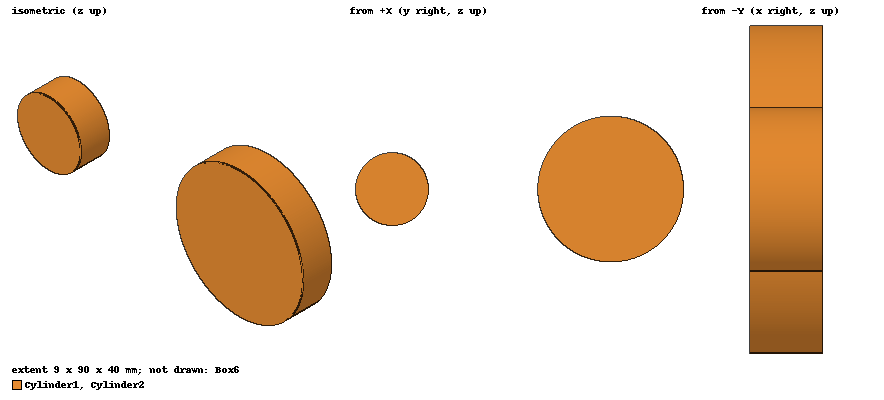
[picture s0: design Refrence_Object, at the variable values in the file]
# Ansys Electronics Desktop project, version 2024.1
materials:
  Rogers RO4003 (tm): permittivity=3.55 dielectric_loss_tangent=0.0027
  copper: permeability=0.999991 conductivity=58000000
  vacuum: permittivity=1
  polyimide: permittivity=3.5 dielectric_loss_tangent=0.008
  Rogers RO3010 (tm): permittivity=10.2 dielectric_loss_tangent=0.0035

design 1D_Array (HFSS, HFSS Modal Network, model units mm)
options: Allow_Material_Override
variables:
  SRRdx = srrdy
  SRRdy = 7.3mm
  subH = 32mil
  SRRw = 1.2mm
  chip = 0.4572mm
  subW = 9mm
  subL = subw
  t = 0um
  wgz = 40mm
  DRRw2 = 1mm
  DRRdy = SRRdy - SRR_DRR_gap*1- SRRw*2
  DRRw = 0.3mm
  SRR_DRR_gap = 0.3mm
  DRRgap = 0.2mm
  DRRdx = SRRdx - SRR_DRR_gap - SRRw*2
  SurfRough = 0.5um
  chipW = 0.5mm
  cap0 = 1.5645pF
  res0 = 0ohm
  Theta0 = 0deg
  Rvia = 5mil
  ViaEdgeGap = 10mil
  wDc = 6mil
  dcOff = 10mil
  KapH = 0mil
  DCut = 4mil
  PCapX = 1.4mm
  PCapY = 1mm
  PCap2X = 6mm
  PCap2Y = 4mm
  dy = 3mil
  L0 = 1.5mm
  g0 = 2.5mil
  IDL = L0 - g0
  IDpad = 0.2mm
  L1 = 1.5mm
  R0 = 55.2262ohm
  cap1 = 1.3741pF
  cap2 = 1.2993pF
  cap3 = 1.453pF
  cap4 = 0.10462pF
  cap5 = 0.76733pF
  cap6 = 0.99295pF
  cap7 = 0.52999pF
  cap8 = 1.5731pF
  cap9 = 1.8836pF
  cap10 = 0.61932pF
  cap11 = 1.6083pF
  cap12 = 0.30308pF
  cap13 = 1.8408pF
  cap14 = 0.30492pF
  cap15 = 1.2941pF
  cap16 = 0.80554pF
  cap17 = 1.7749pF
  cap18 = 1.1083pF
  cap19 = 1.0771pF
  R1 = 97.9129ohm
  R2 = 54.9309ohm
  R3 = 33.0424ohm
  R4 = 61.9472ohm
  R5 = 36.0637ohm
  R6 = 75.651ohm
  R7 = 41.3901ohm
  R8 = 49.2345ohm
  R9 = 69.4743ohm
  R10 = 97.2734ohm
  R11 = 32.7755ohm
  R12 = 83.7803ohm
  R13 = 73.9072ohm
  R14 = 95.4174ohm
  R15 = 3.1923ohm
  R16 = 35.6869ohm
  R17 = 66.2654ohm
  R18 = 28.1502ohm
  R19 = 23.0383ohm
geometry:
  Rectangle1 [copper] = rectangle(corner=(-SRRdx/2, -SRRdy/2, subH), x_size=SRRdx, y_size=SRRdy)
  Rectangle2 = rectangle(corner=(-(SRRdx-SRRw*2)/2, -(SRRdy-SRRw*2)/2, subH), x_size=SRRdx-SRRw*2, y_size=SRRdy-SRRw*2)
  Rectangle3 = rectangle(corner=(-chip/2, -SRRdy/2, subH), x_size=chip, y_size=SRRw)
  Box1 [Rogers RO4003 (tm)] = box(corner=(-subW/2, -subL/2, subh), size=(subW, Subw*20, -2*subH))
  Rectangle4 = rectangle(corner=(-chip/2, -SRRdy/2 + SRRw/2  - chipW/2, kaph + subH), x_size=chip, y_size=chipW)
  Rectangle4.move(0, 0, 0)
  Box5 [copper] = box(corner=(-subW/2, -subL/2, 0mm), size=(subW, subL, -t))
  Box6 [vacuum] = box(corner=(-subW/2, -subL/2 - 2*subL, - 2*subh), size=(subW, subL*24, subH+Wgz))
  Rectangle1.move(0, 0, 0)
  Rectangle1.thicken(t)
  Rectangle9 = rectangle(corner=(-DRRdx/2, -DRRdy/2, subH), x_size=DRRdx, y_size=DRRdy)
  Rectangle9.thicken(t)
  Rectangle9.move(0, 0, 0)
  Rectangle14 = rectangle(corner=(-chip/2, -chipW/2, kaph + subH), x_size=chip, y_size=chipW)
  Rectangle10 = rectangle(corner=(-(DRRdx-DRRw*2)/2, -(DRRdy-DRRw*2)/2, subH), x_size=DRRdx-DRRw*2, y_size=(DRRdy-DRRw*2)/2-DRRw2/2)
  Rectangle2_1 = Rectangle10.duplicate_around_axis(axis=Z, angle=180deg, total=2)
  Rectangle11 = rectangle(corner=(-chip/2, -DRRw2/2, subH), x_size=chip, y_size=DRRw2)
  Rectangle12 = rectangle(corner=(-DRRgap/2, -DRRdy/2, subH), x_size=DRRgap, y_size=DRRw)
  Rectangle13 = rectangle(corner=(-DRRgap/2, DRRdy/2, subH), x_size=DRRgap, y_size=-DRRw)
  Rectangle9.subtract(Rectangle10, Rectangle11, Rectangle2_1)
  Rectangle9.subtract(Rectangle12, Rectangle13)  # suppressed
  Rectangle1.subtract(Rectangle2, Rectangle3)
  Cylinder1 [copper] = cylinder(axis=Z, base_centre=(-chip/2 - ViaEdgeGap -Rvia, 0mm, -subH), radius=Rvia, height=kaph + 2*subH)
  Cylinder2 = cylinder(axis=Z, base_centre=(chip/2 + ViaEdgeGap  + Rvia, 0mm, -subH), radius=Rvia, height=Kaph + 2*subH)
  Rectangle15 = rectangle(corner=(-chip/2, -DRRw2/2, -Subh), x_size=-2*Rvia - 2*ViaEdgeGap, y_size=DRRw2)
  Rectangle16 = rectangle(corner=(chip/2, -DRRw2/2, -Subh), x_size=2*Rvia + 2*ViaEdgeGap, y_size=DRRw2)
  Circle1 = circle(normal=Z, centre=(-chip/2 - ViaEdgeGap -Rvia, 0, 0mm), radius=Rvia + ViaEdgeGap)
  Circle2 = circle(normal=Z, centre=(chip/2 + ViaEdgeGap +Rvia, 0, 0mm), radius=Rvia + ViaEdgeGap)
  Cylinder3 = cylinder(axis=Z, base_centre=(-chip/2 - ViaEdgeGap -Rvia, -SRRdx/2 + SRRw/2, -subH), radius=Rvia, height=kaph + 2*subH)
  Cylinder4 = cylinder(axis=Z, base_centre=(chip/2 + ViaEdgeGap +Rvia, -SRRdx/2 + SRRw/2, -subH), radius=Rvia, height=kaph + 2*subH)
  Rectangle17 = rectangle(corner=(-chip/2, - SRRdx/2, -Subh), x_size=-2*Rvia - 2*ViaEdgeGap, y_size=SRRw)
  Rectangle18 = rectangle(corner=(chip/2, - SRRdx/2, -Subh), x_size=2*Rvia +2*ViaEdgeGap, y_size=SRRw)
  Rectangle15.unite(Rectangle16, Rectangle17, Rectangle18)
  Circle3 = circle(normal=Z, centre=(-chip/2 - ViaEdgeGap -Rvia, -SRRdx/2 + SRRw/2, 0mm), radius=Rvia + ViaEdgeGap)
  Circle4 = circle(normal=Z, centre=(chip/2 + ViaEdgeGap +Rvia, -SRRdx/2 + SRRw/2, 0mm), radius=Rvia + ViaEdgeGap)
  Circle1.unite(Circle2, Circle3, Circle4)
  Box5.subtract(Circle1)
  Rectangle19 = rectangle(corner=(-chip/2, -wDc/2, -subh), x_size=-(subW - chip)/2, y_size=wDc)
  Rectangle20 = rectangle(corner=(chip/2, -wDc/2, -subh), x_size=(subW - chip)/2, y_size=wDc)
  Rectangle21 = rectangle(corner=(-subW/2, -SRRdx /2 + SRRw + dcOff, -subh), x_size=subw, y_size=wDc)
  Rectangle22 = rectangle(corner=(-subW/2, -SRRdx /2 - dcOff, -subh), x_size=subw, y_size=-wDc)
  Rectangle23 = rectangle(corner=(-chip/2 - ViaEdgeGap -Rvia - wdc/2, -SRRdx/2 + SRRw, -subh), x_size=wDc, y_size=dcOff)
  Rectangle24 = rectangle(corner=(chip/2 + ViaEdgeGap +Rvia - wdc/2, -SRRdx/2, -subh), x_size=wDc, y_size=-dcOff)
  Rectangle19.unite(Rectangle20..Rectangle24)
  Rectangle15.unite(Rectangle19)
  Rectangle32 = rectangle(corner=(-L0/2, DRRdx /2, subh), x_size=IDL, y_size=-dy)
  Rectangle32_1..Rectangle32_4 = Rectangle32.duplicate_along_line(step=(0mm, -dy*2 - g0*2, 0mm), total=5)
  Rectangle33 = rectangle(corner=(L0/2, DRRdx /2 - dy - g0, subh), x_size=-IDL, y_size=-dy)
  Rectangle33_1, Rectangle33_2, Rectangle33_3 = Rectangle33.duplicate_along_line(step=(0mm, -2*(dy + g0), 0mm), total=4)
  Rectangle34 = rectangle(corner=(-L0/2, Drrdy/2, subh), x_size=-IDpad, y_size=-9*dy - 8*g0)
  Rectangle35 = rectangle(corner=(L0/2, Drrdy/2, subh), x_size=IDpad, y_size=-9*dy - 8*g0)
  Rectangle32.unite(Rectangle32_1..Rectangle32_4, Rectangle33, Rectangle33_1, Rectangle33_2, Rectangle33_3, Rectangle34, Rectangle35)
  Rectangle36 = rectangle(corner=(-L0/2, drrdy/2, subh), x_size=L0, y_size=-DRRw)
  Rectangle37 = rectangle(corner=(-L0/2, -drrdy/2, subh), x_size=L0, y_size=DRRw)
  Rectangle9.subtract(Rectangle36, Rectangle37)
  Rectangle32_5 = Rectangle32.duplicate_mirror(point=(0mm, 0mm, 0mm), normal=(0mm, 1mm, 0mm))
  Rectangle9.unite(Rectangle32, Rectangle32_5)
  Rectangle38 = rectangle(corner=(-Srrdx/2 + SRRw, -L1/2, subh), x_size=-dy, y_size=L1 - g0)
  Rectangle38_1..Rectangle38_4 = Rectangle38.duplicate_along_line(step=(-dy*2 - 2*g0, 0mm, 0mm), total=5)
  Rectangle39 = rectangle(corner=(-Srrdx/2 + SRRw - dy - g0, L1/2, subh), x_size=-dy, y_size=-L1 + g0)
  Rectangle39_1, Rectangle39_2, Rectangle39_3 = Rectangle39.duplicate_along_line(step=(-2*dy - 2*g0, 0mm, 0mm), total=4)
  Rectangle40 = rectangle(corner=(-srrdx/2 + SRRw, L1/2, subh), x_size=-9*dy - 8*g0, y_size=IDpad)
  Rectangle41 = rectangle(corner=(-srrdx/2 + SRRw, -L1/2, subh), x_size=-9*dy - 8*g0, y_size=-IDpad)
  Rectangle38.unite(Rectangle38_1..Rectangle38_4, Rectangle39, Rectangle39_1, Rectangle39_2, Rectangle39_3, Rectangle40, Rectangle41)
  Rectangle42 = rectangle(corner=(-Srrdx/2 + SRRw, -l1/2, subh), x_size=-SRRw, y_size=L1)
  Rectangle43 = rectangle(corner=(Srrdx/2 - SRRw, -l1/2, subh), x_size=SRRw, y_size=L1)
  Rectangle1.subtract(Rectangle42, Rectangle43)
  Rectangle38_5 = Rectangle38.duplicate_mirror(point=(0mm, 0mm, 0mm), normal=(1mm, 0mm, 0mm))
  Rectangle1.unite(Rectangle38, Rectangle38_5)
  Cylinder1.unite(Cylinder2, Cylinder3, Cylinder4)
  Rectangle1.unite(Rectangle9)
  Rectangle1_1..Rectangle1_19 = Rectangle1.duplicate_along_line(step=(0mm, subW, 0mm), total=20)
  Rectangle1.unite(Rectangle1_1..Rectangle1_19)
  Box5_1..Box5_19 = Box5.duplicate_along_line(step=(0mm, subw, 0mm), total=20)
  Box5_1.unite(Box5_2..Box5_19)
  Box5.unite(Box5_1)
  Rectangle15_1..Rectangle15_19 = Rectangle15.duplicate_along_line(step=(0mm, subw, 0mm), total=20)
  Rectangle15.unite(Rectangle15_1..Rectangle15_19)
  Cylinder1_1..Cylinder1_19 = Cylinder1.duplicate_along_line(step=(0mm, subw, 0mm), total=20)
  Cylinder1.unite(Cylinder1_1..Cylinder1_19)
  Rectangle4_1..Rectangle4_19 = Rectangle4.duplicate_along_line(step=(0mm, subL, 0mm), total=20)
  Rectangle14_1..Rectangle14_19 = Rectangle14.duplicate_along_line(step=(0mm, subL, 0mm), total=20)
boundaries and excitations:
  FiniteCond1: Finite Conductivity Objects=[Box5, Rectangle1] UseMaterial Material=copper Roughness=0 IsInternal
  LumpRLC1: Lumped RLC Objects=Rectangle4 CurrentLine{(0.2286, -3.05, 0.8128) -> (-0.2286, -3.05, 0.8128)} RLC_Type=Parallel Capacitance=Cap0
  LumpRLC3: Lumped RLC Objects=Rectangle14 CurrentLine{(0.2286, 0, 0.8128) -> (-0.2286, 0, 0.8128)} RLC_Type=Parallel Resistance=R0
  FiniteCond2: Finite Conductivity Objects=Rectangle15 UseMaterial Material=copper IsInternal
  PerfE1: Perfect E Faces=Box6.face(-x, +x) InfGroundPlane
  Rad2: Radiation Faces=Box6.face(-z, -y, +z, +y)
  LumpRLC4: Lumped RLC Objects=Rectangle4_1 CurrentLine{(0.2286, 5.95, 0.8128) -> (-0.2286, 5.95, 0.8128)} RLC_Type=Parallel Capacitance=cap1
  LumpRLC5: Lumped RLC Objects=Rectangle4_2 CurrentLine{(0.2286, 14.95, 0.8128) -> (-0.2286, 14.95, 0.8128)} RLC_Type=Parallel Capacitance=cap2
  LumpRLC6: Lumped RLC Objects=Rectangle4_3 CurrentLine{(0.2286, 23.95, 0.8128) -> (-0.2286, 23.95, 0.8128)} RLC_Type=Parallel Capacitance=cap3
  LumpRLC7: Lumped RLC Objects=Rectangle4_4 CurrentLine{(0.2286, 32.95, 0.8128) -> (-0.2286, 32.95, 0.8128)} RLC_Type=Parallel Capacitance=cap4
  LumpRLC8: Lumped RLC Objects=Rectangle4_5 CurrentLine{(0.2286, 41.95, 0.8128) -> (-0.2286, 41.95, 0.8128)} RLC_Type=Parallel Capacitance=cap5
  LumpRLC9: Lumped RLC Objects=Rectangle4_6 CurrentLine{(0.2286, 50.95, 0.8128) -> (-0.2286, 50.95, 0.8128)} RLC_Type=Parallel Capacitance=cap6
  LumpRLC10: Lumped RLC Objects=Rectangle4_7 CurrentLine{(0.2286, 59.95, 0.8128) -> (-0.2286, 59.95, 0.8128)} RLC_Type=Parallel Capacitance=cap7
  LumpRLC11: Lumped RLC Objects=Rectangle4_8 CurrentLine{(0.2286, 68.95, 0.8128) -> (-0.2286, 68.95, 0.8128)} RLC_Type=Parallel Capacitance=cap8
  LumpRLC12: Lumped RLC Objects=Rectangle4_9 CurrentLine{(0.2286, 77.95, 0.8128) -> (-0.2286, 77.95, 0.8128)} RLC_Type=Parallel Capacitance=cap9
  LumpRLC13: Lumped RLC Objects=Rectangle4_10 CurrentLine{(0.2286, 86.95, 0.8128) -> (-0.2286, 86.95, 0.8128)} RLC_Type=Parallel Capacitance=cap10
  LumpRLC14: Lumped RLC Objects=Rectangle4_11 CurrentLine{(0.2286, 95.95, 0.8128) -> (-0.2286, 95.95, 0.8128)} RLC_Type=Parallel Capacitance=cap11
  LumpRLC15: Lumped RLC Objects=Rectangle4_12 CurrentLine{(0.2286, 104.95, 0.8128) -> (-0.2286, 104.95, 0.8128)} RLC_Type=Parallel Capacitance=cap12
  LumpRLC16: Lumped RLC Objects=Rectangle4_13 CurrentLine{(0.2286, 113.95, 0.8128) -> (-0.2286, 113.95, 0.8128)} RLC_Type=Parallel Capacitance=cap13
  LumpRLC17: Lumped RLC Objects=Rectangle4_14 CurrentLine{(0.2286, 122.95, 0.8128) -> (-0.2286, 122.95, 0.8128)} RLC_Type=Parallel Capacitance=cap14
  LumpRLC18: Lumped RLC Objects=Rectangle4_15 CurrentLine{(0.2286, 131.95, 0.8128) -> (-0.2286, 131.95, 0.8128)} RLC_Type=Parallel Capacitance=cap15
  LumpRLC19: Lumped RLC Objects=Rectangle4_16 CurrentLine{(0.2286, 140.95, 0.8128) -> (-0.2286, 140.95, 0.8128)} RLC_Type=Parallel Capacitance=cap16
  LumpRLC20: Lumped RLC Objects=Rectangle4_17 CurrentLine{(0.2286, 149.95, 0.8128) -> (-0.2286, 149.95, 0.8128)} RLC_Type=Parallel Capacitance=cap17
  LumpRLC21: Lumped RLC Objects=Rectangle4_18 CurrentLine{(0.2286, 158.95, 0.8128) -> (-0.2286, 158.95, 0.8128)} RLC_Type=Parallel Capacitance=cap18
  LumpRLC22: Lumped RLC Objects=Rectangle4_19 CurrentLine{(0.2286, 167.95, 0.8128) -> (-0.2286, 167.95, 0.8128)} RLC_Type=Parallel Capacitance=cap19
  LumpRLC23: Lumped RLC Objects=Rectangle14_1 CurrentLine{(0.2286, 9, 0.8128) -> (-0.2286, 9, 0.8128)} RLC_Type=Parallel Resistance=R1
  LumpRLC24: Lumped RLC Objects=Rectangle14_2 CurrentLine{(0.2286, 18, 0.8128) -> (-0.2286, 18, 0.8128)} RLC_Type=Parallel Resistance=R2
  LumpRLC25: Lumped RLC Objects=Rectangle14_3 CurrentLine{(0.2286, 27, 0.8128) -> (-0.2286, 27, 0.8128)} RLC_Type=Parallel Resistance=R3
  LumpRLC26: Lumped RLC Objects=Rectangle14_4 CurrentLine{(0.2286, 36, 0.8128) -> (-0.2286, 36, 0.8128)} RLC_Type=Parallel Resistance=R4
  LumpRLC27: Lumped RLC Objects=Rectangle14_5 CurrentLine{(0.2286, 45, 0.8128) -> (-0.2286, 45, 0.8128)} RLC_Type=Parallel Resistance=R5
  LumpRLC28: Lumped RLC Objects=Rectangle14_6 CurrentLine{(0.2286, 54, 0.8128) -> (-0.2286, 54, 0.8128)} RLC_Type=Parallel Resistance=R6
  LumpRLC29: Lumped RLC Objects=Rectangle14_7 CurrentLine{(0.2286, 63, 0.8128) -> (-0.2286, 63, 0.8128)} RLC_Type=Parallel Resistance=R7
  LumpRLC30: Lumped RLC Objects=Rectangle14_8 CurrentLine{(0.2286, 72, 0.8128) -> (-0.2286, 72, 0.8128)} RLC_Type=Parallel Resistance=R8
  LumpRLC31: Lumped RLC Objects=Rectangle14_9 CurrentLine{(0.2286, 81, 0.8128) -> (-0.2286, 81, 0.8128)} RLC_Type=Parallel Resistance=R9
  LumpRLC32: Lumped RLC Objects=Rectangle14_10 CurrentLine{(0.2286, 90, 0.8128) -> (-0.2286, 90, 0.8128)} RLC_Type=Parallel Resistance=R10
  LumpRLC33: Lumped RLC Objects=Rectangle14_11 CurrentLine{(0.2286, 99, 0.8128) -> (-0.2286, 99, 0.8128)} RLC_Type=Parallel Resistance=R11
  LumpRLC34: Lumped RLC Objects=Rectangle14_12 CurrentLine{(0.2286, 108, 0.8128) -> (-0.2286, 108, 0.8128)} RLC_Type=Parallel Resistance=R12
  LumpRLC35: Lumped RLC Objects=Rectangle14_13 CurrentLine{(0.2286, 117, 0.8128) -> (-0.2286, 117, 0.8128)} RLC_Type=Parallel Resistance=R13
  LumpRLC36: Lumped RLC Objects=Rectangle14_14 CurrentLine{(0.2286, 126, 0.8128) -> (-0.2286, 126, 0.8128)} RLC_Type=Parallel Resistance=R14
  LumpRLC37: Lumped RLC Objects=Rectangle14_15 CurrentLine{(0.2286, 135, 0.8128) -> (-0.2286, 135, 0.8128)} RLC_Type=Parallel Resistance=R15
  LumpRLC38: Lumped RLC Objects=Rectangle14_16 CurrentLine{(0.2286, 144, 0.8128) -> (-0.2286, 144, 0.8128)} RLC_Type=Parallel Resistance=R16
  LumpRLC39: Lumped RLC Objects=Rectangle14_17 CurrentLine{(0.2286, 153, 0.8128) -> (-0.2286, 153, 0.8128)} RLC_Type=Parallel Resistance=R17
  LumpRLC40: Lumped RLC Objects=Rectangle14_18 CurrentLine{(0.2286, 162, 0.8128) -> (-0.2286, 162, 0.8128)} RLC_Type=Parallel Resistance=R18
  LumpRLC41: Lumped RLC Objects=Rectangle14_19 CurrentLine{(0.2286, 171, 0.8128) -> (-0.2286, 171, 0.8128)} RLC_Type=Parallel Resistance=R19
  IncPWave1: Plane Incident Wave IsCartesian EoX=1 EoY=0 EoZ=0 kX=0 kY=0 kZ=-1 OriginX=0mm OriginY=0mm OriginZ=wgz IsPropagating
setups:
  Setup1: HfssDriven Frequency=9GHz MaxDeltaE=0.001 MaximumPasses=1 MinimumPasses=1 MinimumConvergedPasses=1 PercentRefinement=30 BasisOrder=0 DrivenSolverType="Direct Solver"
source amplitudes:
  IncPWave1:1: 1 0deg
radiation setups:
  Infinite Sphere1: Infinite Sphere Theta=-180deg..180deg step 1deg Phi=0deg..90deg step 90deg
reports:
  rE Plot 1: dB(rETotal) vs Theta on Setup1 : LastAdaptive, Infinite Sphere1 [Phi=90deg Freq=9GHz]

design Refrence_Object (HFSS, HFSS Modal Network, model units mm)
options: Allow_Material_Override
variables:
  SRRdx = srrdy
  SRRdy = 7.3mm
  subH = 32mil
  SRRw = 1.2mm
  subW = 9mm
  subL = subw
  wgz = 40mm
  SRR_DRR_gap = 0.3mm
  L0 = 1.5mm
  g0 = 2.5mil
  Rad0 = 10mm
  Cent0 = 30mm
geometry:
  Box6 [vacuum] = box(corner=(-subW/2, -12*subL, - 50*subh), size=(subW, subL*24, 100*subh))
  Cylinder1 [copper] = cylinder(axis=X, base_centre=(-subl/2, Cent0, 0mm), radius=Rad0*2, height=subL)
  Cylinder2 [copper] = cylinder(axis=X, base_centre=(-subl/2, -Cent0, 0mm), radius=Rad0, height=subL)
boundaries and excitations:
  PerfE1: Perfect E Faces=Box6.face(-x, +x) InfGroundPlane
  Rad2: Radiation Faces=Box6.face(-z, -y, +z, +y)
  IncPWave1: Plane Incident Wave IsCartesian EoX=1 EoY=0 EoZ=0 kX=0 kY=0 kZ=-1 OriginX=0mm OriginY=0mm OriginZ=wgz IsPropagating
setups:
  Setup1: HfssDriven Frequency=9GHz MaxDeltaE=0.001 MaximumPasses=20 MinimumPasses=10 MinimumConvergedPasses=3 PercentRefinement=30 BasisOrder=0 DrivenSolverType="Direct Solver"
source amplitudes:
  IncPWave1:1: 1 0deg
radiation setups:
  Infinite Sphere1: Infinite Sphere Theta=-90deg..90deg step 1deg Phi=0deg..90deg step 90deg
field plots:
  ComplexMag_E1: E Field over a plane on Setup1 : LastAdaptive at Freq=9GHz Phase=0deg
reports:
  rE Plot 2: dB10normalize(rETotal) vs Theta on Setup1 : LastAdaptive, Infinite Sphere1 [Phi=90deg Freq=9GHz]
